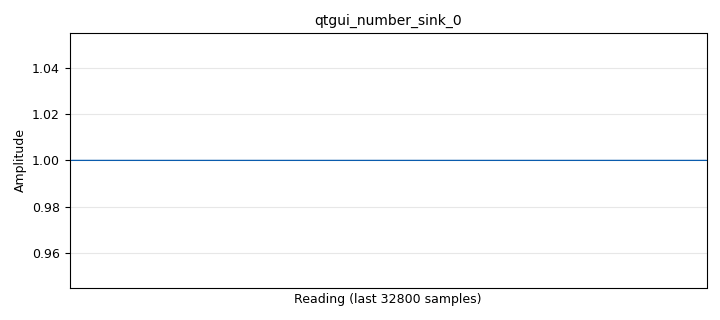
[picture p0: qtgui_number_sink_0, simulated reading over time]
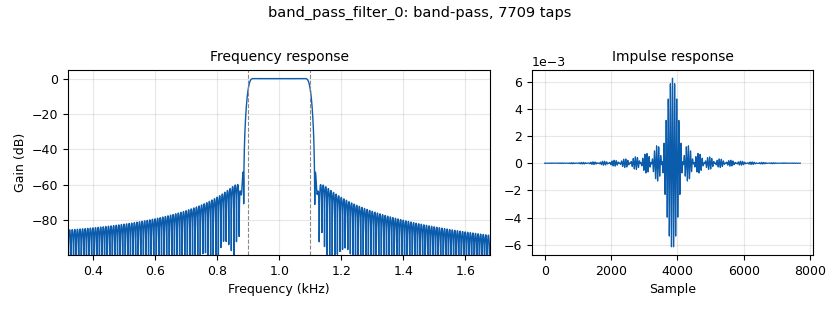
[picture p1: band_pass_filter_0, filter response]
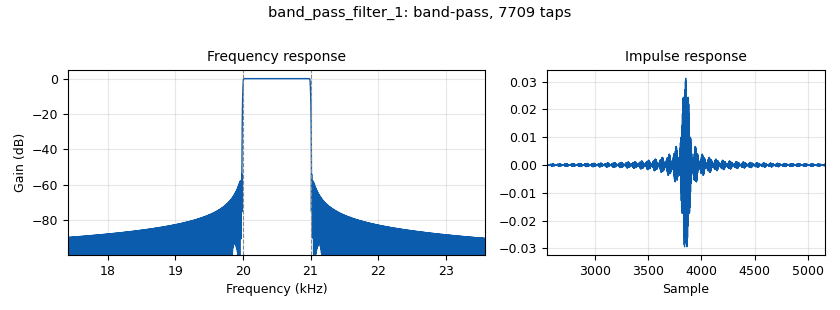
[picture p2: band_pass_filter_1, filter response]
<?xml version='1.0' encoding='utf-8'?>
<?grc format='1' created='3.7.9'?>
<flow_graph>
<block>
<key>options</key>
<param><key>id</key><value>top_block</value></param>
<param><key>category</key><value>Custom</value></param>
<param><key>generate_options</key><value>qt_gui</value></param>
</block>
<block>
<key>variable_qtgui_check_box</key>
<param><key>id</key><value>Check</value></param>
<param><key>value</key><value>True</value></param>
<param><key>false</key><value>False</value></param>
<param><key>true</key><value>True</value></param>
<param><key>type</key><value>int</value></param>
</block>
<block>
<key>variable</key>
<param><key>id</key><value>SigAmp1</value></param>
<param><key>value</key><value>43</value></param>
</block>
<block>
<key>variable</key>
<param><key>id</key><value>SigAmp2</value></param>
<param><key>value</key><value>32</value></param>
</block>
<block>
<key>variable</key>
<param><key>id</key><value>samp_rate</value></param>
<param><key>value</key><value>64000</value></param>
</block>
<block>
<key>analog_sig_source_x</key>
<param><key>id</key><value>Sig1_1</value></param>
<param><key>amp</key><value>SigAmp1</value></param>
<param><key>freq</key><value>1000</value></param>
<param><key>offset</key><value>0</value></param>
<param><key>type</key><value>complex</value></param>
<param><key>samp_rate</key><value>samp_rate</value></param>
<param><key>waveform</key><value>analog.GR_COS_WAVE</value></param>
</block>
<block>
<key>analog_sig_source_x</key>
<param><key>id</key><value>Sig1_2</value></param>
<param><key>amp</key><value>SigAmp1</value></param>
<param><key>freq</key><value>21000</value></param>
<param><key>offset</key><value>0</value></param>
<param><key>type</key><value>complex</value></param>
<param><key>samp_rate</key><value>samp_rate</value></param>
<param><key>waveform</key><value>analog.GR_COS_WAVE</value></param>
</block>
<block>
<key>analog_sig_source_x</key>
<param><key>id</key><value>Sig2_1</value></param>
<param><key>amp</key><value>SigAmp2</value></param>
<param><key>freq</key><value>1000</value></param>
<param><key>offset</key><value>0</value></param>
<param><key>type</key><value>complex</value></param>
<param><key>samp_rate</key><value>samp_rate</value></param>
<param><key>waveform</key><value>analog.GR_COS_WAVE</value></param>
</block>
<block>
<key>analog_sig_source_x</key>
<param><key>id</key><value>Sig2_2</value></param>
<param><key>amp</key><value>SigAmp2</value></param>
<param><key>freq</key><value>21000</value></param>
<param><key>offset</key><value>0</value></param>
<param><key>type</key><value>complex</value></param>
<param><key>samp_rate</key><value>samp_rate</value></param>
<param><key>waveform</key><value>analog.GR_COS_WAVE</value></param>
</block>
<block>
<key>analog_noise_source_x</key>
<param><key>id</key><value>analog_noise_source_x_0</value></param>
<param><key>amp</key><value>0.001</value></param>
<param><key>noise_type</key><value>analog.GR_GAUSSIAN</value></param>
<param><key>type</key><value>complex</value></param>
<param><key>seed</key><value>0</value></param>
</block>
<block>
<key>band_pass_filter</key>
<param><key>id</key><value>band_pass_filter_0</value></param>
<param><key>decim</key><value>1</value></param>
<param><key>type</key><value>fir_filter_ccf</value></param>
<param><key>gain</key><value>1</value></param>
<param><key>high_cutoff_freq</key><value>1100</value></param>
<param><key>low_cutoff_freq</key><value>900</value></param>
<param><key>samp_rate</key><value>samp_rate</value></param>
<param><key>width</key><value>20</value></param>
<param><key>win</key><value>firdes.WIN_HAMMING</value></param>
</block>
<block>
<key>band_pass_filter</key>
<param><key>id</key><value>band_pass_filter_0_0</value></param>
<param><key>decim</key><value>1</value></param>
<param><key>type</key><value>fir_filter_ccf</value></param>
<param><key>gain</key><value>1</value></param>
<param><key>high_cutoff_freq</key><value>1100</value></param>
<param><key>low_cutoff_freq</key><value>900</value></param>
<param><key>samp_rate</key><value>samp_rate</value></param>
<param><key>width</key><value>20</value></param>
<param><key>win</key><value>firdes.WIN_HAMMING</value></param>
</block>
<block>
<key>band_pass_filter</key>
<param><key>id</key><value>band_pass_filter_1</value></param>
<param><key>decim</key><value>1</value></param>
<param><key>type</key><value>fir_filter_ccf</value></param>
<param><key>gain</key><value>1</value></param>
<param><key>high_cutoff_freq</key><value>21000</value></param>
<param><key>low_cutoff_freq</key><value>20000</value></param>
<param><key>samp_rate</key><value>samp_rate</value></param>
<param><key>width</key><value>20</value></param>
<param><key>win</key><value>firdes.WIN_HAMMING</value></param>
</block>
<block>
<key>band_pass_filter</key>
<param><key>id</key><value>band_pass_filter_1_0</value></param>
<param><key>decim</key><value>1</value></param>
<param><key>type</key><value>fir_filter_ccf</value></param>
<param><key>gain</key><value>1</value></param>
<param><key>high_cutoff_freq</key><value>21000</value></param>
<param><key>low_cutoff_freq</key><value>20000</value></param>
<param><key>samp_rate</key><value>samp_rate</value></param>
<param><key>width</key><value>20</value></param>
<param><key>win</key><value>firdes.WIN_HAMMING</value></param>
</block>
<block>
<key>blks2_selector</key>
<param><key>id</key><value>blks2_selector_0</value></param>
<param><key>input_index</key><value>Check</value></param>
<param><key>num_inputs</key><value>2</value></param>
<param><key>num_outputs</key><value>1</value></param>
<param><key>output_index</key><value>0</value></param>
<param><key>type</key><value>complex</value></param>
<param><key>vlen</key><value>1</value></param>
</block>
<block>
<key>blks2_selector</key>
<param><key>id</key><value>blks2_selector_0_0</value></param>
<param><key>input_index</key><value>Check</value></param>
<param><key>num_inputs</key><value>2</value></param>
<param><key>num_outputs</key><value>1</value></param>
<param><key>output_index</key><value>0</value></param>
<param><key>type</key><value>complex</value></param>
<param><key>vlen</key><value>1</value></param>
</block>
<block>
<key>blocks_add_xx</key>
<param><key>id</key><value>blocks_add_xx_0</value></param>
<param><key>type</key><value>complex</value></param>
</block>
<block>
<key>blocks_add_xx</key>
<param><key>id</key><value>blocks_add_xx_1</value></param>
<param><key>type</key><value>complex</value></param>
</block>
<block>
<key>blocks_add_xx</key>
<param><key>id</key><value>blocks_add_xx_2</value></param>
<param><key>type</key><value>complex</value></param>
</block>
<block>
<key>blocks_add_xx</key>
<param><key>id</key><value>blocks_add_xx_3</value></param>
<param><key>type</key><value>complex</value></param>
</block>
<block>
<key>blocks_add_xx</key>
<param><key>id</key><value>blocks_add_xx_4</value></param>
<param><key>type</key><value>complex</value></param>
</block>
<block>
<key>blocks_argmax_xx</key>
<param><key>id</key><value>blocks_argmax_xx_0</value></param>
<param><key>type</key><value>float</value></param>
</block>
<block>
<key>blocks_max_xx</key>
<param><key>id</key><value>blocks_max_xx_0</value></param>
<param><key>type</key><value>float</value></param>
<param><key>num_inputs</key><value>2</value></param>
</block>
<block>
<key>blocks_max_xx</key>
<param><key>id</key><value>blocks_max_xx_1</value></param>
<param><key>type</key><value>float</value></param>
<param><key>num_inputs</key><value>2</value></param>
</block>
<block>
<key>blocks_null_sink</key>
<param><key>id</key><value>blocks_null_sink_0</value></param>
<param><key>bus_conns</key><value>[[0,],]</value></param>
<param><key>type</key><value>short</value></param>
</block>
<block>
<key>blocks_rms_xx</key>
<param><key>id</key><value>blocks_rms_xx_0</value></param>
<param><key>alpha</key><value>0.0001</value></param>
<param><key>type</key><value>complex</value></param>
</block>
<block>
<key>blocks_rms_xx</key>
<param><key>id</key><value>blocks_rms_xx_0_0</value></param>
<param><key>alpha</key><value>0.0001</value></param>
<param><key>type</key><value>complex</value></param>
</block>
<block>
<key>blocks_rms_xx</key>
<param><key>id</key><value>blocks_rms_xx_0_1</value></param>
<param><key>alpha</key><value>0.0001</value></param>
<param><key>type</key><value>complex</value></param>
</block>
<block>
<key>blocks_rms_xx</key>
<param><key>id</key><value>blocks_rms_xx_0_2</value></param>
<param><key>alpha</key><value>0.0001</value></param>
<param><key>type</key><value>complex</value></param>
</block>
<block>
<key>blocks_sub_xx</key>
<param><key>id</key><value>blocks_sub_xx_0</value></param>
<param><key>type</key><value>complex</value></param>
</block>
<block>
<key>qtgui_number_sink</key>
<param><key>id</key><value>qtgui_number_sink_0</value></param>
<param><key>graph_type</key><value>qtgui.NUM_GRAPH_HORIZ</value></param>
<param><key>type</key><value>short</value></param>
</block>
<connection><source_block_id>Sig1_1</source_block_id><sink_block_id>blocks_add_xx_0</sink_block_id><source_key>0</source_key><sink_key>1</sink_key></connection>
<connection><source_block_id>Sig1_2</source_block_id><sink_block_id>blocks_add_xx_2</sink_block_id><source_key>0</source_key><sink_key>1</sink_key></connection>
<connection><source_block_id>Sig2_1</source_block_id><sink_block_id>blocks_add_xx_1</sink_block_id><source_key>0</source_key><sink_key>1</sink_key></connection>
<connection><source_block_id>Sig2_2</source_block_id><sink_block_id>blocks_add_xx_3</sink_block_id><source_key>0</source_key><sink_key>1</sink_key></connection>
<connection><source_block_id>analog_noise_source_x_0</source_block_id><sink_block_id>blocks_add_xx_0</sink_block_id><source_key>0</source_key><sink_key>0</sink_key></connection>
<connection><source_block_id>analog_noise_source_x_0</source_block_id><sink_block_id>blocks_add_xx_1</sink_block_id><source_key>0</source_key><sink_key>0</sink_key></connection>
<connection><source_block_id>analog_noise_source_x_0</source_block_id><sink_block_id>blocks_add_xx_2</sink_block_id><source_key>0</source_key><sink_key>0</sink_key></connection>
<connection><source_block_id>analog_noise_source_x_0</source_block_id><sink_block_id>blocks_add_xx_3</sink_block_id><source_key>0</source_key><sink_key>0</sink_key></connection>
<connection><source_block_id>band_pass_filter_0</source_block_id><sink_block_id>blocks_rms_xx_0</sink_block_id><source_key>0</source_key><sink_key>0</sink_key></connection>
<connection><source_block_id>band_pass_filter_0_0</source_block_id><sink_block_id>blocks_rms_xx_0_1</sink_block_id><source_key>0</source_key><sink_key>0</sink_key></connection>
<connection><source_block_id>band_pass_filter_1</source_block_id><sink_block_id>blocks_rms_xx_0_0</sink_block_id><source_key>0</source_key><sink_key>0</sink_key></connection>
<connection><source_block_id>band_pass_filter_1_0</source_block_id><sink_block_id>blocks_rms_xx_0_2</sink_block_id><source_key>0</source_key><sink_key>0</sink_key></connection>
<connection><source_block_id>blks2_selector_0</source_block_id><sink_block_id>blocks_add_xx_4</sink_block_id><source_key>0</source_key><sink_key>0</sink_key></connection>
<connection><source_block_id>blks2_selector_0</source_block_id><sink_block_id>blocks_sub_xx_0</sink_block_id><source_key>0</source_key><sink_key>0</sink_key></connection>
<connection><source_block_id>blks2_selector_0_0</source_block_id><sink_block_id>blocks_add_xx_4</sink_block_id><source_key>0</source_key><sink_key>1</sink_key></connection>
<connection><source_block_id>blks2_selector_0_0</source_block_id><sink_block_id>blocks_sub_xx_0</sink_block_id><source_key>0</source_key><sink_key>1</sink_key></connection>
<connection><source_block_id>blocks_add_xx_0</source_block_id><sink_block_id>blks2_selector_0</sink_block_id><source_key>0</source_key><sink_key>0</sink_key></connection>
<connection><source_block_id>blocks_add_xx_1</source_block_id><sink_block_id>blks2_selector_0_0</sink_block_id><source_key>0</source_key><sink_key>0</sink_key></connection>
<connection><source_block_id>blocks_add_xx_2</source_block_id><sink_block_id>blks2_selector_0</sink_block_id><source_key>0</source_key><sink_key>1</sink_key></connection>
<connection><source_block_id>blocks_add_xx_3</source_block_id><sink_block_id>blks2_selector_0_0</sink_block_id><source_key>0</source_key><sink_key>1</sink_key></connection>
<connection><source_block_id>blocks_add_xx_4</source_block_id><sink_block_id>band_pass_filter_0</sink_block_id><source_key>0</source_key><sink_key>0</sink_key></connection>
<connection><source_block_id>blocks_add_xx_4</source_block_id><sink_block_id>band_pass_filter_1</sink_block_id><source_key>0</source_key><sink_key>0</sink_key></connection>
<connection><source_block_id>blocks_argmax_xx_0</source_block_id><sink_block_id>qtgui_number_sink_0</sink_block_id><source_key>1</source_key><sink_key>0</sink_key></connection>
<connection><source_block_id>blocks_argmax_xx_0</source_block_id><sink_block_id>blocks_null_sink_0</sink_block_id><source_key>0</source_key><sink_key>0</sink_key></connection>
<connection><source_block_id>blocks_max_xx_0</source_block_id><sink_block_id>blocks_argmax_xx_0</sink_block_id><source_key>0</source_key><sink_key>0</sink_key></connection>
<connection><source_block_id>blocks_max_xx_1</source_block_id><sink_block_id>blocks_argmax_xx_0</sink_block_id><source_key>0</source_key><sink_key>1</sink_key></connection>
<connection><source_block_id>blocks_rms_xx_0</source_block_id><sink_block_id>blocks_max_xx_0</sink_block_id><source_key>0</source_key><sink_key>0</sink_key></connection>
<connection><source_block_id>blocks_rms_xx_0_0</source_block_id><sink_block_id>blocks_max_xx_1</sink_block_id><source_key>0</source_key><sink_key>0</sink_key></connection>
<connection><source_block_id>blocks_rms_xx_0_1</source_block_id><sink_block_id>blocks_max_xx_0</sink_block_id><source_key>0</source_key><sink_key>1</sink_key></connection>
<connection><source_block_id>blocks_rms_xx_0_2</source_block_id><sink_block_id>blocks_max_xx_1</sink_block_id><source_key>0</source_key><sink_key>1</sink_key></connection>
<connection><source_block_id>blocks_sub_xx_0</source_block_id><sink_block_id>band_pass_filter_0_0</sink_block_id><source_key>0</source_key><sink_key>0</sink_key></connection>
<connection><source_block_id>blocks_sub_xx_0</source_block_id><sink_block_id>band_pass_filter_1_0</sink_block_id><source_key>0</source_key><sink_key>0</sink_key></connection>
</flow_graph>
